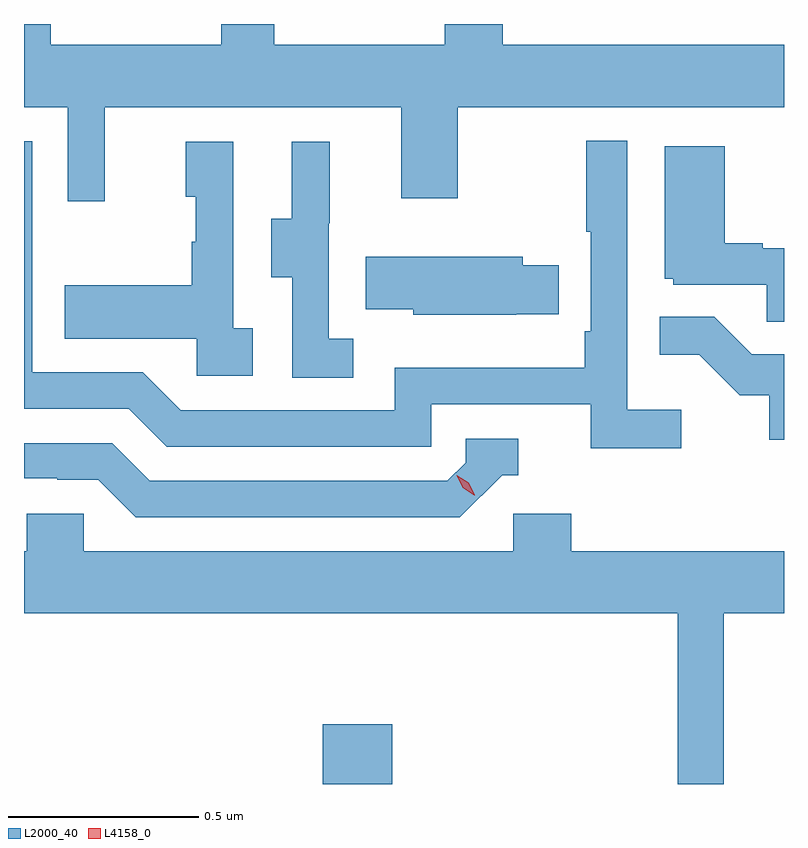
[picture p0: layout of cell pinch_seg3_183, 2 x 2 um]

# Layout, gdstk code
import gdstk
lib = gdstk.Library(unit=1e-6, precision=1e-09)
def R(c, l, rs):  # rectangles x0, y0, x1, y1
    for r in rs: c.add(gdstk.rectangle(r[:2], r[2:], *l))
def P(c, l, *ps):  # polygons
    for p in ps: c.add(gdstk.Polygon(p, *l))
L2000_40 = (2000, 40)
L4158_0 = (4158, 0)

pinch_seg3_183 = lib.new_cell('pinch_seg3_183')
R(pinch_seg3_183, L2000_40, [(996.278,729.771,996.461,729.928)])
P(pinch_seg3_183, L2000_40, [(995.705,731.552),(996.485,731.552),(996.485,731.313),(996.633,731.313),(996.633,731.552),(997.492,731.552),(997.492,731.716),(996.752,731.716),(996.752,731.771),(996.599,731.771),(996.599,731.716),(996.151,731.716),(996.151,731.771),(996.011,731.771),(996.011,731.716),(995.563,731.716),(995.563,731.771),(995.492,731.771),(995.492,731.552),(995.607,731.552),(995.607,731.304),(995.705,731.304)],
  [(997.222,730.756),(997.08,730.756),(997.08,731.464),(996.972,731.464),(996.972,731.224),(996.984,731.224),(996.984,730.963),(996.967,730.963),(996.967,730.867),(996.468,730.867),(996.468,730.755),(995.904,730.755),(995.805,730.854),(995.514,730.854),(995.514,731.463),(995.492,731.463),(995.492,730.758),(995.768,730.758),(995.867,730.659),(996.564,730.659),(996.564,730.77),(996.983,730.77),(996.983,730.654),(997.222,730.654)],
  [(996.358,730.943),(996.294,730.943),(996.294,731.247),(996.296,731.247),(996.296,731.461),(996.197,731.461),(996.197,731.259),(996.143,731.259),(996.143,731.104),(996.198,731.104),(996.198,730.84),(996.358,730.84)],
  [(996.094,730.97),(996.042,730.97),(996.042,731.461),(995.918,731.461),(995.918,731.316),(995.944,731.316),(995.944,731.198),(995.934,731.198),(995.934,731.083),(995.599,731.083),(995.599,730.943),(995.946,730.943),(995.946,730.845),(996.094,730.845)],
  [(997.492,731.181),(997.436,731.181),(997.436,731.194),(997.336,731.194),(997.336,731.449),(997.178,731.449),(997.178,731.1),(997.2,731.1),(997.2,731.085),(997.447,731.085),(997.447,730.987),(997.492,730.987)],
  [(996.788,731.007),(996.899,731.007),(996.899,731.136),(996.805,731.136),(996.805,731.158),(996.391,731.158),(996.391,731.021),(996.516,731.021),(996.516,731.006),(996.788,731.006)],
  [(997.492,730.902),(997.407,730.902),(997.309,731),(997.165,731),(997.165,730.901),(997.269,730.901),(997.376,730.794),(997.453,730.794),(997.453,730.677),(997.492,730.677)],
  [(996.75,730.584),(996.793,730.584),(996.793,730.68),(996.654,730.68),(996.654,730.617),(996.606,730.569),(995.823,730.569),(995.724,730.668),(995.492,730.668),(995.492,730.575),(995.58,730.575),(995.58,730.572),(995.687,730.572),(995.786,730.473),(996.639,730.473)],
  [(997.333,730.22),(997.492,730.22),(997.492,730.384),(996.932,730.384),(996.932,730.482),(996.78,730.482),(996.78,730.384),(995.649,730.384),(995.649,730.482),(995.499,730.482),(995.499,730.384),(995.492,730.384),(995.492,730.22),(997.212,730.22),(997.212,729.771),(997.333,729.771)])
P(pinch_seg3_183, L4158_0, [(996.677,730.531),(996.647,730.551),(996.631,730.584),(996.631,730.584),(996.631,730.584),(996.662,730.564),(996.678,730.531),(996.678,730.531)])

lib.write_gds('pinch_seg3_183.gds')
